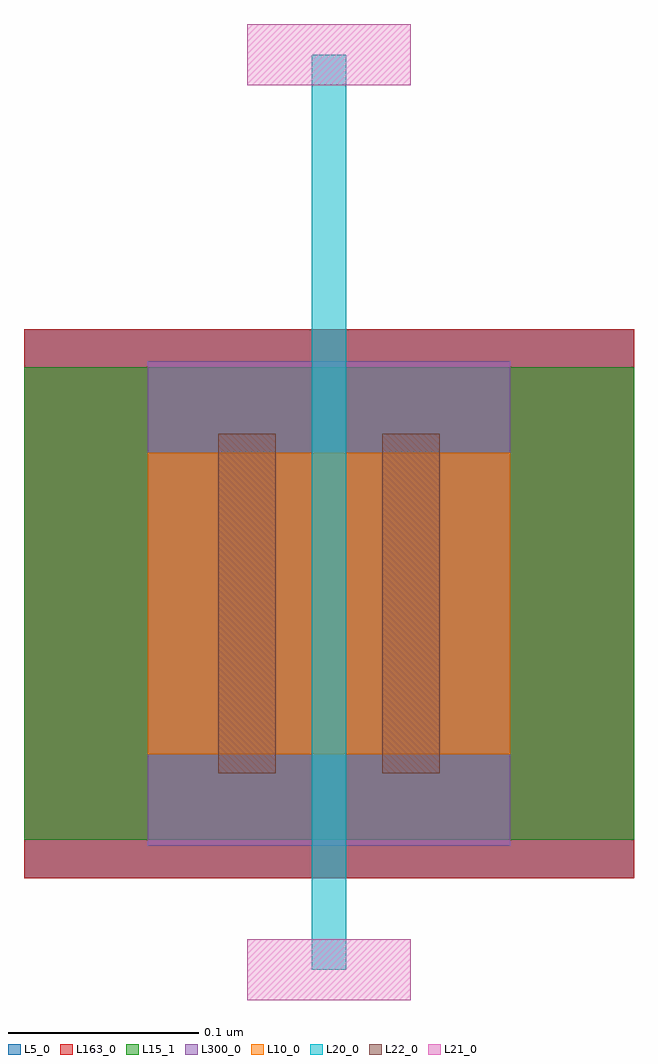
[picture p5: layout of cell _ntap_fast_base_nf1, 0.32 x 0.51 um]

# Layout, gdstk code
import gdstk
lib = gdstk.Library(unit=1e-6, precision=5e-10)
def R(c, l, rs):  # rectangles x0, y0, x1, y1
    for r in rs: c.add(gdstk.rectangle(r[:2], r[2:], *l))
L5_0 = (5, 0)
L10_0 = (10, 0)
L15_1 = (15, 1)
L20_0 = (20, 0)
L21_0 = (21, 0)
L22_0 = (22, 0)
L163_0 = (163, 0)
L300_0 = (300, 0)

p1lvt_cdns_548863453660 = lib.new_cell('p1lvt_CDNS_548863453660')
R(p1lvt_cdns_548863453660, L5_0, [(-0.151,-0.065,0.169,0.223)])
R(p1lvt_cdns_548863453660, L10_0, [(-0.086,0,0,0.158), (0,0,0.018,0.158), (0.018,0,0.104,0.158)])
R(p1lvt_cdns_548863453660, L15_1, [(-0.151,-0.045,0.169,0.203)])
R(p1lvt_cdns_548863453660, L20_0, [(0,-0.048,0.018,0), (0,0,0.018,0.158), (0,0.158,0.018,0.206)])
R(p1lvt_cdns_548863453660, L22_0, [(-0.049,-0.01,-0.019,0.168), (0.037,-0.01,0.067,0.168)])
R(p1lvt_cdns_548863453660, L163_0, [(-0.151,-0.065,0.169,0.223)])
R(p1lvt_cdns_548863453660, L300_0, [(-0.086,-0.048,0.104,0.206)])
p1lvt_cdns_548863453660.add(gdstk.Label('0.158/0.018', (0.009,0.0365), layer=63, texttype=0))
p1lvt_cdns_548863453660.add(gdstk.Label('[@instanceName]', (0.009,0.066), layer=63, texttype=0))

c__ntap_fast_base_nf1 = lib.new_cell('_ntap_fast_base_nf1')
R(c__ntap_fast_base_nf1, L20_0, [(0.034,0,0.052,0.48)])
R(c__ntap_fast_base_nf1, L21_0, [(0,-0.016,0.086,0.016), (0,0.464,0.086,0.496)])
c__ntap_fast_base_nf1.add(gdstk.Reference(p1lvt_cdns_548863453660, (0.034,0.113)))

lib.write_gds('_ntap_fast_base_nf1.gds')
